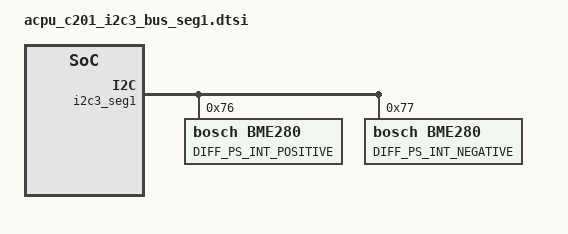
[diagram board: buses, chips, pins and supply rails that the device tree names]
/*
 * Copyright (c) 2021 Acme CPU
 *
 * SPDX-License-Identifier: Apache-2.0
 */

&i2c3_seg1 {

  p121_ps: bmp388@76 {
/*    compatible = "bosch,bmp388";*/
    compatible = "bosch,bme280";
    reg = <0x76>;
    label = "DIFF_PS_INT_POSITIVE";
  };

  p122_ps: bmp388@77 {
/*    compatible = "bosch,bmp388";*/
    compatible = "bosch,bme280";
    reg = <0x77>;
    label = "DIFF_PS_INT_NEGATIVE";
  };

};
